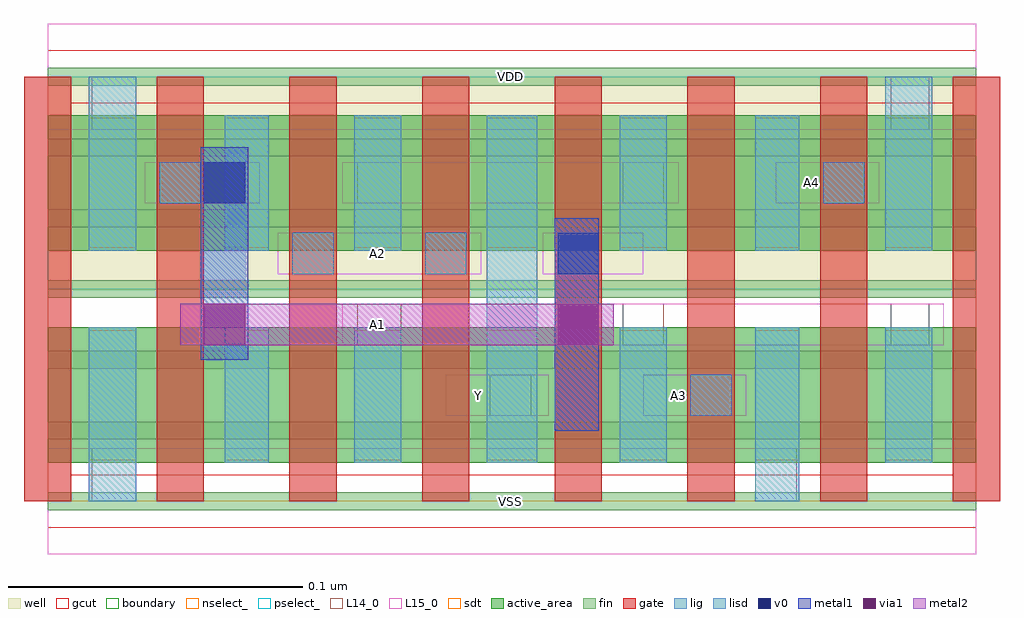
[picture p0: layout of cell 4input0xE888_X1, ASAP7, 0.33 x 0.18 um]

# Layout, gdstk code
import gdstk
lib = gdstk.Library(unit=1e-6, precision=1e-09)
def R(c, l, rs):  # rectangles x0, y0, x1, y1
    for r in rs: c.add(gdstk.rectangle(r[:2], r[2:], *l))
def A(c, l, x, y, w, h, nx, ny, dx, dy):  # array of equal rectangles
    R(c, l, [(x+i*dx, y+j*dy, x+i*dx+w, y+j*dy+h) for i in range(nx) for j in range(ny)])
def P(c, l, *ps):  # polygons
    for p in ps: c.add(gdstk.Polygon(p, *l))
well = (1, 0)
fin = (2, 0)
gate = (7, 0)
gcut = (10, 0)
active_area = (11, 0)
nselect_ = (12, 0)
pselect_ = (13, 0)
L14_0 = (14, 0)
L15_0 = (15, 0)
lig = (16, 0)
lisd = (17, 0)
v0 = (18, 0)
metal1 = (19, 0)
metal2 = (20, 0)
via1 = (21, 0)
sdt = (88, 0)
boundary = (100, 0)

c_4input0xe888_x1 = lib.new_cell('4input0xE888_X1')
R(c_4input0xe888_x1, well, [(0,0.072,0.315,0.144)])
A(c_4input0xe888_x1, fin, 0, -0.003, 0.315, 0.006, 1, 7, 0, 0.024)
A(c_4input0xe888_x1, gate, -0.008, 0, 0.016, 0.144, 8, 1, 0.045, 0)
P(c_4input0xe888_x1, gcut, [(0,-0.009),(0,0),(-0.008,0),(-0.008,0.135),(0.008,0.135),(0.008,0.009),(0.307,0.009),(0.307,0.135),(-0.008,0.135),(-0.008,0.144),(0,0.144),(0,0.153),(0.315,0.153),(0.315,0.144),(0.323,0.144),(0.323,0),(0.315,0),(0.315,-0.009)])
R(c_4input0xe888_x1, active_area, [(0,0.013,0.315,0.059), (0,0.085,0.315,0.131)])
R(c_4input0xe888_x1, nselect_, [(0,0,0.315,0.072)])
R(c_4input0xe888_x1, pselect_, [(0,0.072,0.315,0.144)])
A(c_4input0xe888_x1, L14_0, 0.083, 0.077, 0.014, 0.014, 3, 1, 0.045, 0)
R(c_4input0xe888_x1, L14_0, [(0.015,0,0.03,0.018), (0.24,0,0.254,0.018), (0.15,0.029,0.164,0.043), (0.218,0.029,0.232,0.043), (0.105,0.053,0.12,0.067), (0.195,0.053,0.209,0.067), (0.286,0.053,0.299,0.067), (0.038,0.101,0.052,0.115), (0.105,0.101,0.12,0.115), (0.195,0.101,0.209,0.115), (0.263,0.101,0.277,0.115), (0.015,0.126,0.03,0.144), (0.286,0.126,0.299,0.144)])
R(c_4input0xe888_x1, L15_0, [(0,-0.018,0.315,0.018), (0.135,0.029,0.17,0.043), (0.202,0.029,0.237,0.043), (0.1,0.053,0.304,0.067), (0.078,0.077,0.147,0.091), (0.168,0.077,0.202,0.091), (0.033,0.101,0.072,0.115), (0.1,0.101,0.214,0.115), (0.247,0.101,0.282,0.115), (0,0.126,0.315,0.162)])
A(c_4input0xe888_x1, lig, 0.083, 0.077, 0.014, 0.014, 3, 1, 0.045, 0)
R(c_4input0xe888_x1, lig, [(0.218,0.029,0.232,0.043), (0.038,0.101,0.052,0.115), (0.263,0.101,0.277,0.115)])
A(c_4input0xe888_x1, lisd, 0.104, 0.013, 0.016, 0.046, 3, 1, 0.09, 0)
R(c_4input0xe888_x1, lisd, [(0.014,0,0.03,0.059), (0.24,0,0.255,0.059), (0.06,0.013,0.075,0.059), (0.149,0.013,0.166,0.131), (0.014,0.085,0.03,0.144), (0.06,0.085,0.075,0.131), (0.104,0.085,0.12,0.131), (0.194,0.085,0.21,0.131), (0.24,0.085,0.255,0.131), (0.284,0.085,0.3,0.144)])
R(c_4input0xe888_x1, v0, [(0.173,0.077,0.187,0.091), (0.053,0.101,0.067,0.115)])
R(c_4input0xe888_x1, metal1, [(0.172,0.024,0.187,0.096), (0.052,0.048,0.068,0.12)])
R(c_4input0xe888_x1, metal2, [(0.045,0.053,0.192,0.067)])
R(c_4input0xe888_x1, via1, [(0.053,0.053,0.067,0.067), (0.173,0.053,0.187,0.067)])
A(c_4input0xe888_x1, sdt, 0.014, 0.014, 0.016, 0.044, 4, 2, 0.09, 0.072)
R(c_4input0xe888_x1, sdt, [(0.06,0.014,0.075,0.058), (0.149,0.014,0.166,0.058), (0.24,0.014,0.255,0.058), (0.06,0.086,0.075,0.13), (0.149,0.086,0.166,0.13), (0.24,0.086,0.255,0.13)])
R(c_4input0xe888_x1, boundary, [(0,0,0.315,0.144)])
c_4input0xe888_x1.add(gdstk.Label('A4', (0.259,0.108), layer=15, texttype=251))
c_4input0xe888_x1.add(gdstk.Label('VSS', (0.157,0), layer=15, texttype=251))
c_4input0xe888_x1.add(gdstk.Label('VDD', (0.157,0.144), layer=15, texttype=251))
c_4input0xe888_x1.add(gdstk.Label('A3', (0.214,0.036), layer=15, texttype=251))
c_4input0xe888_x1.add(gdstk.Label('VSS', (0.157,0), layer=15, texttype=251))
c_4input0xe888_x1.add(gdstk.Label('VDD', (0.157,0.144), layer=15, texttype=251))
c_4input0xe888_x1.add(gdstk.Label('A2', (0.112,0.084), layer=15, texttype=251))
c_4input0xe888_x1.add(gdstk.Label('VSS', (0.157,0), layer=15, texttype=251))
c_4input0xe888_x1.add(gdstk.Label('VDD', (0.157,0.144), layer=15, texttype=251))
c_4input0xe888_x1.add(gdstk.Label('VSS', (0.157,0), layer=15, texttype=251))
c_4input0xe888_x1.add(gdstk.Label('VDD', (0.157,0.144), layer=15, texttype=251))
c_4input0xe888_x1.add(gdstk.Label('Y', (0.146,0.036), layer=15, texttype=251))
c_4input0xe888_x1.add(gdstk.Label('VSS', (0.157,0), layer=15, texttype=251))
c_4input0xe888_x1.add(gdstk.Label('VDD', (0.157,0.144), layer=15, texttype=251))
c_4input0xe888_x1.add(gdstk.Label('VSS', (0.157,0), layer=3, texttype=251))
c_4input0xe888_x1.add(gdstk.Label('VSS', (0.157,0), layer=3, texttype=251))
c_4input0xe888_x1.add(gdstk.Label('VSS', (0.157,0), layer=3, texttype=251))
c_4input0xe888_x1.add(gdstk.Label('VSS', (0.157,0), layer=3, texttype=251))
c_4input0xe888_x1.add(gdstk.Label('VSS', (0.157,0), layer=3, texttype=251))
c_4input0xe888_x1.add(gdstk.Label('VDD', (0.157,0.144), layer=1, texttype=251))
c_4input0xe888_x1.add(gdstk.Label('VDD', (0.157,0.144), layer=1, texttype=251))
c_4input0xe888_x1.add(gdstk.Label('VDD', (0.157,0.144), layer=1, texttype=251))
c_4input0xe888_x1.add(gdstk.Label('VDD', (0.157,0.144), layer=1, texttype=251))
c_4input0xe888_x1.add(gdstk.Label('VDD', (0.157,0.144), layer=1, texttype=251))
c_4input0xe888_x1.add(gdstk.Label('A1', (0.112,0.06), layer=20, texttype=251))

lib.write_gds('4input0xE888_X1.gds')
